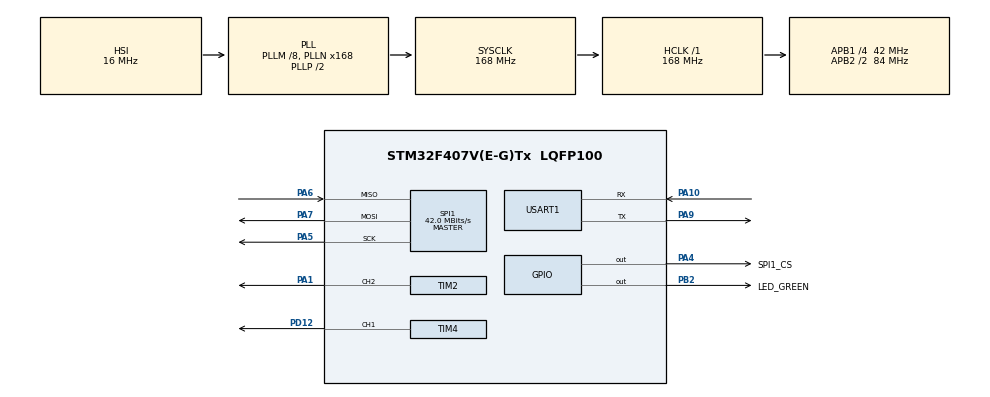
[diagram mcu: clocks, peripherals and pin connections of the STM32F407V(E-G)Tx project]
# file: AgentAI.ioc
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Mcu.Family=STM32F4
Mcu.Name=STM32F407V(E-G)Tx
Mcu.Package=LQFP100
NVIC.PriorityGroup=NVIC_PRIORITYGROUP_4
PA1.Signal=S_TIM2_CH2
PA10.Mode=Asynchronous
PA10.Signal=USART1_RX
PA13.Mode=Serial_Wire
PA13.Signal=SYS_JTMS-SWDIO
PA14.Mode=Serial_Wire
PA14.Signal=SYS_JTCK-SWCLK
PA4.GPIO_Label=SPI1_CS
PA4.Signal=GPIO_Output
PA5.Mode=Full_Duplex_Master
PA5.Signal=SPI1_SCK
PA6.Mode=Full_Duplex_Master
PA6.Signal=SPI1_MISO
PA7.Mode=Full_Duplex_Master
PA7.Signal=SPI1_MOSI
PA9.Mode=Asynchronous
PA9.Signal=USART1_TX
PB2.GPIO_Label=LED_GREEN
PB2.PinState=GPIO_PIN_SET
PB2.Signal=GPIO_Output
PD12.Signal=S_TIM4_CH1
ProjectManager.HeapSize=0x200
ProjectManager.StackSize=0x400
ProjectManager.TargetToolchain=CMake
RCC.48MHZClocksFreq_Value=84000000
RCC.AHBFreq_Value=168000000
RCC.APB1CLKDivider=RCC_HCLK_DIV4
RCC.APB1Freq_Value=42000000
RCC.APB1TimFreq_Value=84000000
RCC.APB2CLKDivider=RCC_HCLK_DIV2
RCC.APB2Freq_Value=84000000
RCC.APB2TimFreq_Value=168000000
RCC.CortexFreq_Value=168000000
RCC.HCLKFreq_Value=168000000
RCC.HSE_VALUE=25000000
RCC.HSI_VALUE=16000000
RCC.LSE_VALUE=32768
RCC.PLLM=8
RCC.PLLN=168
RCC.SYSCLKFreq_VALUE=168000000
RCC.SYSCLKSource=RCC_SYSCLKSOURCE_PLLCLK
RCC.VCOOutputFreq_Value=336000000
SH.S_TIM2_CH2.0=TIM2_CH2,PWM Generation2 CH2
SH.S_TIM4_CH1.0=TIM4_CH1,PWM Generation1 CH1
SPI1.CalculateBaudRate=42.0 MBits/s
SPI1.Direction=SPI_DIRECTION_2LINES
SPI1.Mode=SPI_MODE_MASTER
SPI1.VirtualType=VM_MASTER
TIM2.AutoReloadPreload=TIM_AUTORELOAD_PRELOAD_ENABLE
TIM2.Channel-PWM\ Generation2\ CH2=TIM_CHANNEL_2
TIM2.OCPolarity_2=TIM_OCPOLARITY_LOW
TIM2.Period=999
TIM2.Prescaler=84
TIM2.Pulse-PWM\ Generation2\ CH2=500
TIM4.AutoReloadPreload=TIM_AUTORELOAD_PRELOAD_ENABLE
TIM4.Channel-PWM\ Generation1\ CH1=TIM_CHANNEL_1
TIM4.OCPolarity_1=TIM_OCPOLARITY_LOW
TIM4.Period=999
TIM4.Prescaler=83
TIM4.Pulse-PWM\ Generation1\ CH1=500
USART1.VirtualMode=VM_ASYNC
VP_TIM2_VS_ClockSourceINT.Mode=Internal
VP_TIM4_VS_ClockSourceINT.Mode=Internal
board=custom

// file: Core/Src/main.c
/* USER CODE BEGIN Header */
/**
  ******************************************************************************
  * @file           : main.c
  * @brief          : Main program body
  ******************************************************************************
  * @attention
  *
  * Copyright (c) 2026 STMicroelectronics.
  * All rights reserved.
  *
  * This software is licensed under terms that can be found in the LICENSE file
  * in the root directory of this software component.
  * If no LICENSE file comes with this software, it is provided AS-IS.
  *
  ******************************************************************************
  */
/* USER CODE END Header */
#include "main.h"
#include "spi.h"
#include "tim.h"
#include "usart.h"
#include "gpio.h"

/* USER CODE BEGIN Includes */
#include "w25q64jv.h"

#include <stdio.h>
// #include "led.h"
#include "led_gpio.h"
#include "led_pwm.h"
/* USER CODE END Includes */

/* USER CODE BEGIN PD */
#define FLASH_TEST_ADDRESS  0x000001F0UL
#define FLASH_TEST_LENGTH   300U

extern  uint32_t _smytest;
extern  uint32_t _emytest;
// uint32_t *startyw = &_smytest_smytest;

/* USER CODE END PD */

void SystemClock_Config(void);
/* USER CODE BEGIN PFP */
// static const char *FlashStatusToString(W25Q64JV_Status status);

/* USER CODE END PFP */

/* USER CODE BEGIN 0 */
// extern led_ops gpio_ops;
// extern led_ops pwm_ops;

/*Configure GPIO pin Output Level */
// HAL_GPIO_WritePin(LED_RED_GPIO_Port, LED_RED_Pin, GPIO_PIN_SET);

void led_on(led_base *led) {
	led_ops *ops = led->ops;
	if (ops->on != NULL) {
		ops->on(led);
		return;
	}

	if (ops->set_brightness != NULL) {
		ops->set_brightness(led, 100);
		return;
	}

	return;
}

void led_off(led_base *led) {
	led_ops *ops = led->ops;
	if (ops->off != NULL) {
		ops->off(led);
		return;
	}

	if (ops->set_brightness != NULL) {
		ops->set_brightness(led, 0);
		return;
	}

	return;
}

typedef void (*print_test)(void);

void print_1(void) {
	printf("asdsad111\r\n");
}

void print_2(void) {
	printf("asdsad2222\r\n");
}

__attribute__((section(".my_init"))) print_test key[2] = {print_1, print_2};
led_base *g_led_error = NULL;
led_base *g_led_alram = NULL;

/* USER CODE END 0 */

int main(void)
{

  /* USER CODE BEGIN 1 */
	// TIM2_CH2

  /* USER CODE END 1 */

  /* MCU Configuration--------------------------------------------------------*/

  /* Reset of all peripherals, Initializes the Flash interface and the Systick. */
  HAL_Init();

  /* Configure the system clock */
  SystemClock_Config();

  /* Initialize all configured peripherals */
  MX_GPIO_Init();
  MX_SPI1_Init();
  MX_USART1_UART_Init();
  MX_TIM2_Init();
  MX_TIM4_Init();
  /* USER CODE BEGIN 2 */

	// HAL_TIM_PWM_Init(&htim2);
	// HAL_TIM_PWM_Start(&htim2, TIM_CHANNEL_2);

	led_gpio_t led_green = { 0 };
	led_pwm_t led_pwm2;

	g_led_alram = &led_green.base;
	g_led_error = &led_pwm2.base;

	// led_gpio_init(&led_red, "led_red", LED_RED_GPIO_Port, LED_RED_Pin, GPIO_PIN_RESET);
	led_gpio_init(&led_green, "led_green", LED_GREEN_GPIO_Port, LED_GREEN_Pin, GPIO_PIN_RESET);
	// led_pwm_init(&led_pwm, "led_pwm", &htim2, TIM_CHANNEL_2, 50);
	led_pwm_init(&led_pwm2, "led_pwm2", &htim4, TIM_CHANNEL_1, 10);

	led_gpio_t *test = __containerof(g_led_alram, led_gpio_t, base);
	printf(" gpio is %u \r\n", test->pin_num);

	// printf("key is %u \r\n", key[0]);
	// printf("key is %u \r\n", key[1]);
	printf("key is %x \r\n", &_smytest);
	printf("key is %x \r\n", &_emytest);
	printf("key is %x \r\n", &_emytest - &_smytest);
	print_test *p = &_smytest;

	for (uint32_t i = 0; i <(&_emytest - &_smytest) ; i++) {
		// printf("%u \r\n", p[i]);
		p[i]();
	}

	// led_t led_red,led_green;
	// led_init(&led_red,LED_RED_GPIO_Port,LED_RED_Pin,GPIO_PIN_RESET);
	// led_init(&led_green,LED_GREEN_GPIO_Port,LED_GREEN_Pin,GPIO_PIN_RESET);

	// printf("[GPIO] addr is 11 %x \r\n", &((GPIO_TypeDef *)LED_RED_GPIO_Port)->ODR);
	// printf("led name  %s \r\n", led_base_name(&led_red.base));
	printf("led name  %s \r\n", led_base_name(&led_green.base));

	// printf("led name  %s \r\n", led_base_name(&led_red));
	printf("led name  %s \r\n", led_base_name(&led_green));

	// printf("base %x total %x\r\n", &led_red.base, &led_red);
	// __containerof()

  /* USER CODE END 2 */

  /* Infinite loop */
  while (1)
  {

    /* USER CODE BEGIN 3 */
  	led_on(g_led_alram);
	// led_gpio_on(&led_green);
  	// led_gpio_off(&led_red);
  	// led_pwm_set(&led_pwm2, 0);
  	led_on(g_led_error);
    HAL_Delay(1000);
  	led_off(g_led_alram);
  	// led_off(&led_pwm2);
	led_off(g_led_error);
  	// led_gpio_on(&led_red);
  	// led_pwm_set(&led_pwm2, 100);
    HAL_Delay(1000);
  }
  /* USER CODE END 3 */
}

void SystemClock_Config(void)
{
  RCC_OscInitTypeDef RCC_OscInitStruct = {0};
  RCC_ClkInitTypeDef RCC_ClkInitStruct = {0};

  /** Configure the main internal regulator output voltage
  */
  __HAL_RCC_PWR_CLK_ENABLE();
  __HAL_PWR_VOLTAGESCALING_CONFIG(PWR_REGULATOR_VOLTAGE_SCALE1);

  /** Initializes the RCC Oscillators according to the specified parameters
  * in the RCC_OscInitTypeDef structure.
  */
  RCC_OscInitStruct.OscillatorType = RCC_OSCILLATORTYPE_HSI;
  RCC_OscInitStruct.HSIState = RCC_HSI_ON;
  RCC_OscInitStruct.HSICalibrationValue = RCC_HSICALIBRATION_DEFAULT;
  RCC_OscInitStruct.PLL.PLLState = RCC_PLL_ON;
  RCC_OscInitStruct.PLL.PLLSource = RCC_PLLSOURCE_HSI;
  RCC_OscInitStruct.PLL.PLLM = 8;
  RCC_OscInitStruct.PLL.PLLN = 168;
  RCC_OscInitStruct.PLL.PLLP = RCC_PLLP_DIV2;
  RCC_OscInitStruct.PLL.PLLQ = 4;
  if (HAL_RCC_OscConfig(&RCC_OscInitStruct) != HAL_OK)
  {
    Error_Handler();
  }

  /** Initializes the CPU, AHB and APB buses clocks
  */
  RCC_ClkInitStruct.ClockType = RCC_CLOCKTYPE_HCLK|RCC_CLOCKTYPE_SYSCLK
                              |RCC_CLOCKTYPE_PCLK1|RCC_CLOCKTYPE_PCLK2;
  RCC_ClkInitStruct.SYSCLKSource = RCC_SYSCLKSOURCE_PLLCLK;
  RCC_ClkInitStruct.AHBCLKDivider = RCC_SYSCLK_DIV1;
  RCC_ClkInitStruct.APB1CLKDivider = RCC_HCLK_DIV4;
  RCC_ClkInitStruct.APB2CLKDivider = RCC_HCLK_DIV2;

  if (HAL_RCC_ClockConfig(&RCC_ClkInitStruct, FLASH_LATENCY_5) != HAL_OK)
  {
    Error_Handler();
  }
}

/* USER CODE BEGIN 4 */
int __io_putchar(int ch)
{
  uint8_t data = (uint8_t)ch;

  HAL_UART_Transmit(&huart1, &data, 1U, HAL_MAX_DELAY);

  return ch;
}

/* USER CODE END 4 */

void Error_Handler(void)
{
  __disable_irq();
  while (1)
  {
  }
}
